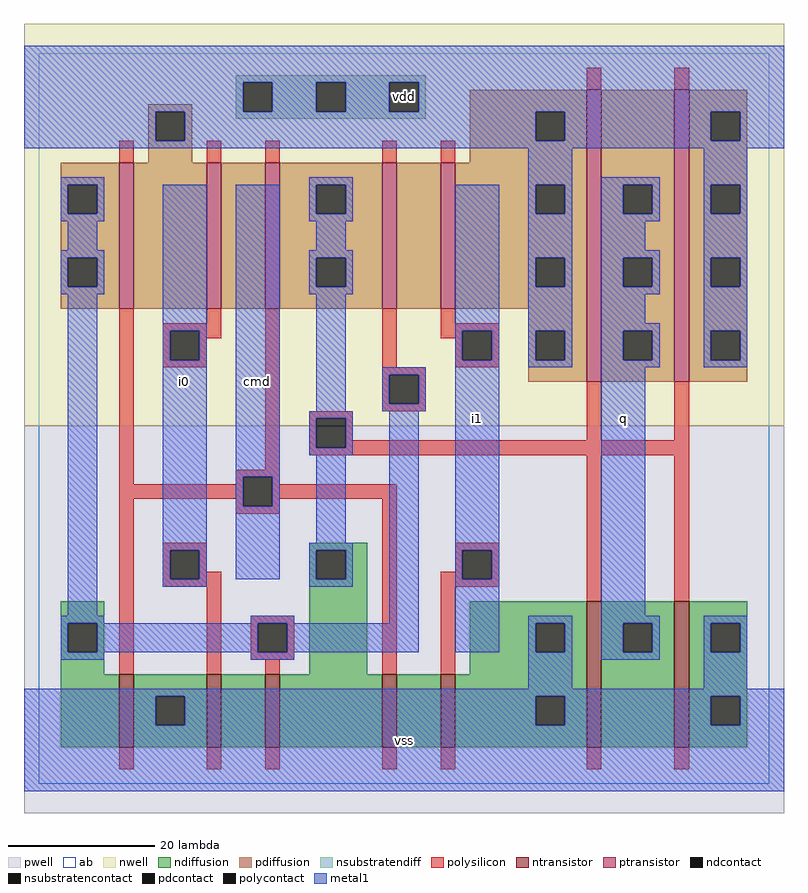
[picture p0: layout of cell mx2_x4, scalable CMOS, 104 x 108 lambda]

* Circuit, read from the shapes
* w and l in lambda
.subckt mx2_x4 cmd i0 i1 q vdd vss
M1 vss cmd n1 VSUBS nfet w=10 l=2
M2 n2 i0 vss VSUBS nfet w=10 l=2
M3 n3 n1 n2 VSUBS nfet w=10 l=2
M4 n4 cmd n3 VSUBS nfet w=10 l=2
M5 vss i1 n4 VSUBS nfet w=10 l=2
M6 q n3 vss VSUBS nfet w=20 l=2 m=2
M7 vdd cmd n1 vdd pfet w=20 l=2
M8 n5 i0 vdd vdd pfet w=20 l=2
M9 n3 cmd n5 vdd pfet w=20 l=2
M10 n6 n1 n3 vdd pfet w=20 l=2
M11 vdd i1 n6 vdd pfet w=20 l=2
M12 q n3 vdd vdd pfet w=40 l=2 m=2
.ends

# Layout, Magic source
magic
tech scmos
<< ab >>
rect 0 0 100 100
<< pwell >>
rect -2 -4 102 49
<< nwell >>
rect -2 49 102 104
<< polysilicon >>
rect 75 95 77 98
rect 87 95 89 98
rect 11 85 13 88
rect 23 85 25 88
rect 31 85 33 88
rect 47 85 49 88
rect 55 85 57 88
rect 11 41 13 65
rect 23 63 25 65
rect 17 62 25 63
rect 17 58 18 62
rect 22 61 25 62
rect 22 58 23 61
rect 17 57 23 58
rect 31 43 33 65
rect 47 57 49 65
rect 55 63 57 65
rect 55 62 63 63
rect 55 61 58 62
rect 57 58 58 61
rect 62 58 63 62
rect 57 57 63 58
rect 47 56 53 57
rect 47 52 48 56
rect 52 52 53 56
rect 47 51 53 52
rect 37 50 43 51
rect 37 46 38 50
rect 42 47 43 50
rect 75 47 77 55
rect 87 47 89 55
rect 42 46 89 47
rect 37 45 89 46
rect 27 42 33 43
rect 27 41 28 42
rect 11 39 28 41
rect 11 15 13 39
rect 27 38 28 39
rect 32 41 33 42
rect 32 39 49 41
rect 32 38 33 39
rect 27 37 33 38
rect 17 32 23 33
rect 17 28 18 32
rect 22 29 23 32
rect 22 28 25 29
rect 17 27 25 28
rect 23 15 25 27
rect 29 22 35 23
rect 29 18 30 22
rect 34 18 35 22
rect 29 17 35 18
rect 31 15 33 17
rect 47 15 49 39
rect 57 32 63 33
rect 57 29 58 32
rect 55 28 58 29
rect 62 28 63 32
rect 55 27 63 28
rect 55 15 57 27
rect 75 25 77 45
rect 87 25 89 45
rect 11 2 13 5
rect 23 2 25 5
rect 31 2 33 5
rect 47 2 49 5
rect 55 2 57 5
rect 75 2 77 5
rect 87 2 89 5
<< ndiffusion >>
rect 3 22 9 25
rect 3 18 4 22
rect 8 18 9 22
rect 3 15 9 18
rect 37 32 45 33
rect 37 28 38 32
rect 42 28 45 32
rect 37 15 45 28
rect 59 22 75 25
rect 59 18 68 22
rect 72 18 75 22
rect 59 15 75 18
rect 3 5 11 15
rect 13 12 23 15
rect 13 8 16 12
rect 20 8 23 12
rect 13 5 23 8
rect 25 5 31 15
rect 33 5 47 15
rect 49 5 55 15
rect 57 12 75 15
rect 57 8 68 12
rect 72 8 75 12
rect 57 5 75 8
rect 77 22 87 25
rect 77 18 80 22
rect 84 18 87 22
rect 77 5 87 18
rect 89 22 97 25
rect 89 18 92 22
rect 96 18 97 22
rect 89 12 97 18
rect 89 8 92 12
rect 96 8 97 12
rect 89 5 97 8
<< pdiffusion >>
rect 15 92 21 93
rect 15 88 16 92
rect 20 88 21 92
rect 59 92 75 95
rect 59 88 68 92
rect 72 88 75 92
rect 15 85 21 88
rect 59 85 75 88
rect 3 82 11 85
rect 3 78 4 82
rect 8 78 11 82
rect 3 72 11 78
rect 3 68 4 72
rect 8 68 11 72
rect 3 65 11 68
rect 13 65 23 85
rect 25 65 31 85
rect 33 82 47 85
rect 33 78 38 82
rect 42 78 47 82
rect 33 72 47 78
rect 33 68 38 72
rect 42 68 47 72
rect 33 65 47 68
rect 49 65 55 85
rect 57 82 75 85
rect 57 78 68 82
rect 72 78 75 82
rect 57 72 75 78
rect 57 68 68 72
rect 72 68 75 72
rect 57 65 75 68
rect 67 62 75 65
rect 67 58 68 62
rect 72 58 75 62
rect 67 55 75 58
rect 77 82 87 95
rect 77 78 80 82
rect 84 78 87 82
rect 77 72 87 78
rect 77 68 80 72
rect 84 68 87 72
rect 77 62 87 68
rect 77 58 80 62
rect 84 58 87 62
rect 77 55 87 58
rect 89 92 97 95
rect 89 88 92 92
rect 96 88 97 92
rect 89 82 97 88
rect 89 78 92 82
rect 96 78 97 82
rect 89 72 97 78
rect 89 68 92 72
rect 96 68 97 72
rect 89 62 97 68
rect 89 58 92 62
rect 96 58 97 62
rect 89 55 97 58
<< metal1 >>
rect -2 96 102 101
rect -2 92 28 96
rect 32 92 38 96
rect 42 92 48 96
rect 52 92 102 96
rect -2 88 16 92
rect 20 88 68 92
rect 72 88 92 92
rect 96 88 102 92
rect -2 87 102 88
rect 3 82 9 83
rect 37 82 43 83
rect 67 82 73 87
rect 3 78 4 82
rect 8 78 9 82
rect 3 77 9 78
rect 4 73 8 77
rect 3 72 9 73
rect 3 68 4 72
rect 8 68 9 72
rect 3 67 9 68
rect 4 23 8 67
rect 17 62 23 82
rect 17 58 18 62
rect 22 58 23 62
rect 17 32 23 58
rect 17 28 18 32
rect 22 28 23 32
rect 27 42 33 82
rect 37 78 38 82
rect 42 78 43 82
rect 37 77 43 78
rect 38 73 42 77
rect 37 72 43 73
rect 37 68 38 72
rect 42 68 43 72
rect 37 67 43 68
rect 38 51 42 67
rect 57 62 63 82
rect 57 58 58 62
rect 62 58 63 62
rect 47 56 53 57
rect 47 52 48 56
rect 52 52 53 56
rect 47 51 53 52
rect 37 50 43 51
rect 37 46 38 50
rect 42 46 43 50
rect 37 45 43 46
rect 27 38 28 42
rect 32 38 33 42
rect 27 28 33 38
rect 38 33 42 45
rect 37 32 43 33
rect 37 28 38 32
rect 42 28 43 32
rect 17 27 23 28
rect 37 27 43 28
rect 3 22 9 23
rect 29 22 35 23
rect 48 22 52 51
rect 3 18 4 22
rect 8 18 30 22
rect 34 18 52 22
rect 57 32 63 58
rect 67 78 68 82
rect 72 78 73 82
rect 67 72 73 78
rect 67 68 68 72
rect 72 68 73 72
rect 67 62 73 68
rect 67 58 68 62
rect 72 58 73 62
rect 67 57 73 58
rect 77 82 85 83
rect 77 78 80 82
rect 84 78 85 82
rect 77 77 85 78
rect 91 82 97 87
rect 91 78 92 82
rect 96 78 97 82
rect 77 73 83 77
rect 77 72 85 73
rect 77 68 80 72
rect 84 68 85 72
rect 77 67 85 68
rect 91 72 97 78
rect 91 68 92 72
rect 96 68 97 72
rect 77 63 83 67
rect 77 62 85 63
rect 77 58 80 62
rect 84 58 85 62
rect 77 57 85 58
rect 91 62 97 68
rect 91 58 92 62
rect 96 58 97 62
rect 91 57 97 58
rect 57 28 58 32
rect 62 28 63 32
rect 57 18 63 28
rect 77 23 83 57
rect 67 22 73 23
rect 67 18 68 22
rect 72 18 73 22
rect 3 17 9 18
rect 29 17 35 18
rect 67 13 73 18
rect 77 22 85 23
rect 77 18 80 22
rect 84 18 85 22
rect 77 17 85 18
rect 91 22 97 23
rect 91 18 92 22
rect 96 18 97 22
rect 91 13 97 18
rect -2 12 102 13
rect -2 8 16 12
rect 20 8 68 12
rect 72 8 92 12
rect 96 8 102 12
rect -2 -1 102 8
<< ntransistor >>
rect 11 5 13 15
rect 23 5 25 15
rect 31 5 33 15
rect 47 5 49 15
rect 55 5 57 15
rect 75 5 77 25
rect 87 5 89 25
<< ptransistor >>
rect 11 65 13 85
rect 23 65 25 85
rect 31 65 33 85
rect 47 65 49 85
rect 55 65 57 85
rect 75 55 77 95
rect 87 55 89 95
<< polycontact >>
rect 18 58 22 62
rect 58 58 62 62
rect 48 52 52 56
rect 38 46 42 50
rect 28 38 32 42
rect 18 28 22 32
rect 30 18 34 22
rect 58 28 62 32
<< ndcontact >>
rect 4 18 8 22
rect 38 28 42 32
rect 68 18 72 22
rect 16 8 20 12
rect 68 8 72 12
rect 80 18 84 22
rect 92 18 96 22
rect 92 8 96 12
<< pdcontact >>
rect 16 88 20 92
rect 68 88 72 92
rect 4 78 8 82
rect 4 68 8 72
rect 38 78 42 82
rect 38 68 42 72
rect 68 78 72 82
rect 68 68 72 72
rect 68 58 72 62
rect 80 78 84 82
rect 80 68 84 72
rect 80 58 84 62
rect 92 88 96 92
rect 92 78 96 82
rect 92 68 96 72
rect 92 58 96 62
<< nsubstratencontact >>
rect 28 92 32 96
rect 38 92 42 96
rect 48 92 52 96
<< nsubstratendiff >>
rect 27 96 53 97
rect 27 92 28 96
rect 32 92 38 96
rect 42 92 48 96
rect 52 92 53 96
rect 27 91 53 92
<< labels >>
rlabel metal1 20 55 20 55 6 i0
rlabel metal1 20 55 20 55 6 i0
rlabel metal1 30 55 30 55 6 cmd
rlabel metal1 30 55 30 55 6 cmd
rlabel metal1 50 6 50 6 6 vss
rlabel metal1 50 6 50 6 6 vss
rlabel metal1 60 50 60 50 6 i1
rlabel metal1 60 50 60 50 6 i1
rlabel nsubstratencontact 50 94 50 94 6 vdd
rlabel nsubstratencontact 50 94 50 94 6 vdd
rlabel metal1 80 50 80 50 6 q
rlabel metal1 80 50 80 50 6 q
<< end >>
